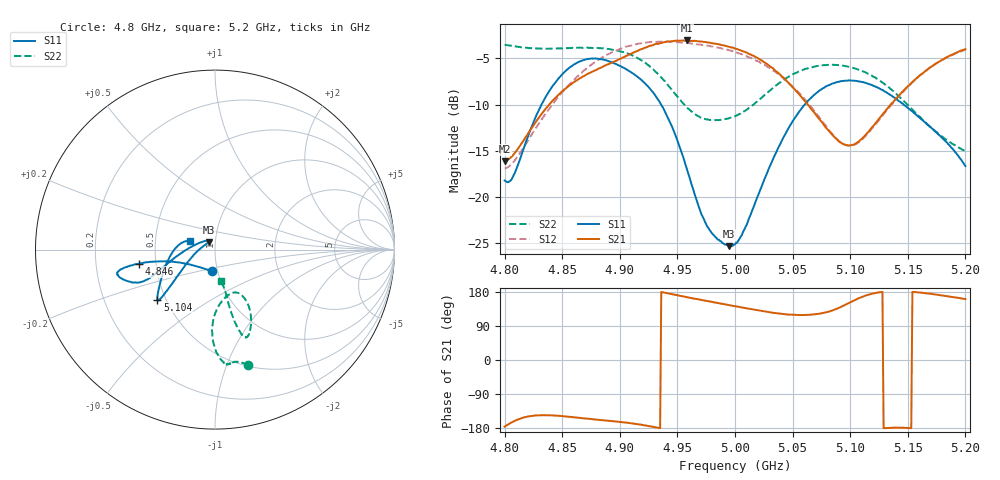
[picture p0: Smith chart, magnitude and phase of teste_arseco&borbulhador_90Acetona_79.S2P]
! Network Analyzer HP8722D
! Hewlett-Packard
! Data name: Linha & Wilkinson
! Saver's name: Rodrigo Anjos
! Comments: Teste da utilização de aquisição
! continua pelo VNA HP8722D
! Time and date: 17/4/2025 11:42
!  Frequency  S11  S21  S12  S22
# HZ  S  MA R 50
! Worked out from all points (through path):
!   401 points, 4.8 GHz to 5.2 GHz, reference 50 ohm
!   highest |S21| = -3.06 dB at 4.958 GHz (marker M1); lowest = -16.2 dB at 4.8 GHz (marker M2)
!   lowest |S11| = -25.4 dB at 4.995 GHz (marker M3), VSWR 1.11, Z = 46.5 + j3.91 ohm
!   |S11| at or under -10 dB: start of sweep to 4.832 GHz; 4.936 GHz to 5.061 GHz (124.8 MHz wide, 2.5 % of centre); 5.146 GHz to end of sweep
!   |S22| runs from -15.1 to -3.5 dB; largest |S21 - S12| = 0.86
!   S11 on the Smith chart (normalised r, x): 4.8 GHz: 0.94, -0.23; 4.846 GHz: 0.40, -0.08; 5.104 GHz: 0.45, -0.31; 5.2 GHz: 0.75, +0.07
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4.8e9  0.1225 -99.0  0.1553 -175.8  0.1423 -121.1  0.6662 -73.9
4.807e9  0.1275 -128.4  0.1671 -163.2  0.1526 -108.7  0.6559 -75.4
4.828e9  0.2804 -166.5  0.2598 -146.1  0.2401 -89.6  0.6372 -79.1
4.846e9  0.4314 -169.5  0.3531 -147.1  0.3443 -87.6  0.6364 -81.3
4.867e9  0.5463 -167.6  0.4451 -153.4  0.4707 -91.6  0.6428 -83.4
4.883e9  0.5568 -164.6  0.4993 -158.3  0.5609 -97.2  0.6388 -84.8
4.903e9  0.5016 -158.8  0.5698 -164.5  0.6418 -105.2  0.6084 -87.3
4.934e9  0.3312 -159.5  0.677 -179.6  0.6938 -119.0  0.4559 -92.0
4.946e9  0.2346 -167.9  0.6986 173.2  0.6911 -124.4  0.3745 -90.9
4.958e9  0.1432 176.2  0.7035 166.0  0.682 -129.6  0.3064 -85.1
4.976e9  0.06882 134.0  0.6862 155.6  0.6584 -137.6  0.2629 -72.6
4.995e9  0.05398 129.2  0.6507 144.9  0.6217 -146.3  0.2669 -63.6
5e9  0.05535 141.4  0.6359 141.8  0.6106 -148.4  0.2729 -61.9
5.008e9  0.06616 161.7  0.611 137.5  0.5847 -152.0  0.2908 -59.9
5.031e9  0.1496 -158.8  0.5061 125.4  0.4941 -161.0  0.3801 -59.7
5.049e9  0.2497 -145.2  0.3988 119.5  0.4023 -165.3  0.457 -64.0
5.067e9  0.3488 -139.6  0.2949 119.9  0.3028 -164.7  0.5036 -67.9
5.091e9  0.4212 -138.0  0.1978 138.6  0.1988 -145.0  0.5165 -71.2
5.104e9  0.425 -139.1  0.1931 158.2  0.1916 -124.0  0.4967 -72.6
5.134e9  0.3589 -148.4  0.3097 -178.8  0.3053 -97.8  0.3897 -75.1
5.162e9  0.2624 -168.9  0.4619 177.5  0.4631 -99.5  0.2647 -76.1
5.2e9  0.1467 160.7  0.6311 160.7  0.6263 -113.5  0.1767 -78.9
